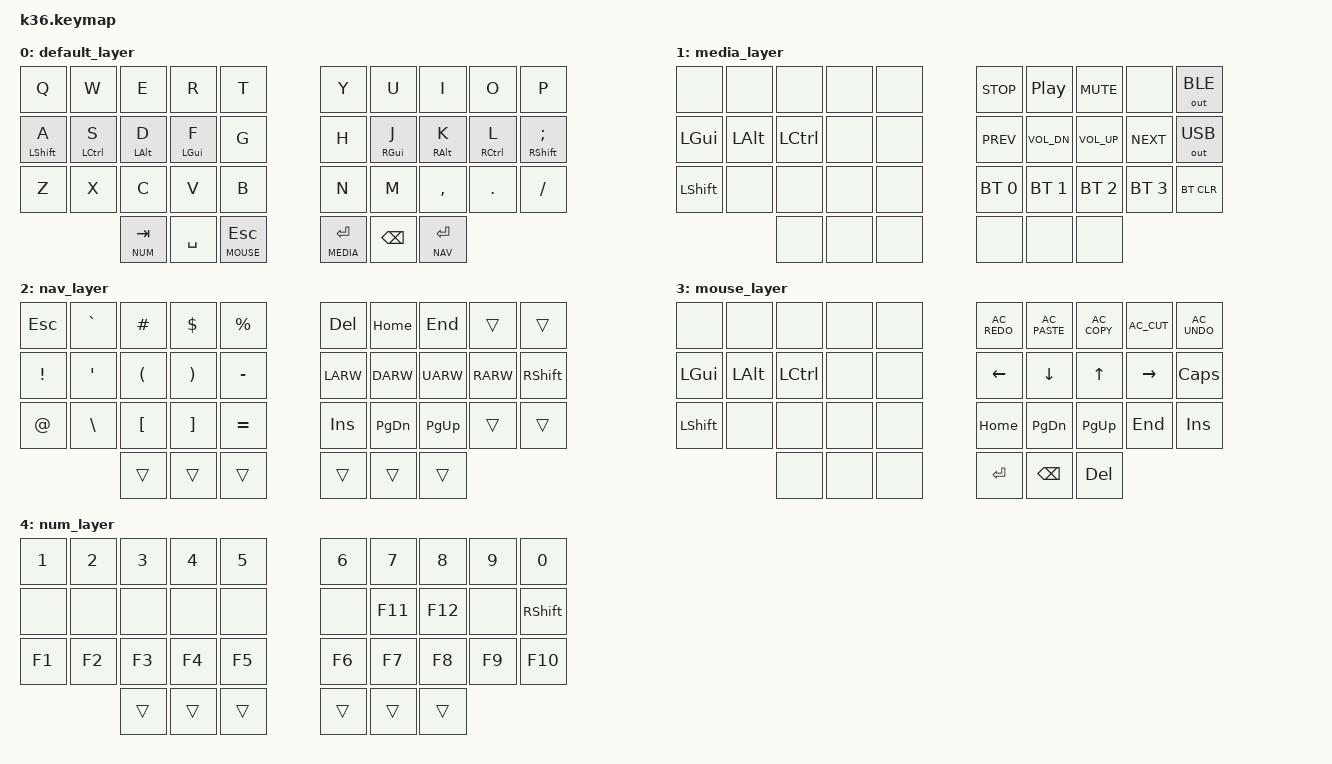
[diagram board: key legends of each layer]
#include <behaviors.dtsi>
#include <dt-bindings/zmk/keys.h>
#include <dt-bindings/zmk/bt.h>
#include <dt-bindings/zmk/ext_power.h>
#include <dt-bindings/zmk/outputs.h>

#define DEFAULT 0
#define MEDIA 1
#define NAV 2
#define MOUSE 3
#define NUM 4

/ {
	behaviors {
		hm: homerow_mods {
			compatible = "zmk,behavior-hold-tap";
			label = "HOMEROW_MODS";
			#binding-cells = <2>;
			tapping-term-ms = <200>;
			quick_tap_ms = <125>;
			global-quick-tap;
			flavor = "tap-preferred";
			bindings = <&kp>, <&kp>;
		};
		lm: layer_mods {
			compatible = "zmk,behavior-hold-tap";
			label = "LAYER_MODS";
			#binding-cells = <2>;
			tapping-term-ms = <200>;
			quick_tap_ms = <0>;
			flavor = "tap-preferred";
			bindings = <&mo>, <&kp>;
        };
  };

	keymap {
		compatible = "zmk,keymap";

		default_layer {
			bindings = <
// ╭───────────────┬───────────────┬───────────────┬───────────────┬───────────────╮   ╭───────────────┬───────────────┬───────────────┬───────────────┬───────────────╮
       &kp Q           &kp W           &kp E           &kp R           &kp T               &kp Y           &kp U           &kp I           &kp O           &kp P
// ├───────────────┼───────────────┼───────────────┼───────────────┼───────────────┤   ├───────────────┼───────────────┼───────────────┼───────────────┼───────────────┤
       &hm LSHFT A     &hm LCTRL S     &hm LALT D      &hm LGUI F      &kp G               &kp H           &hm RGUI J      &hm RALT K      &hm RCTRL L     &hm RSHFT SEMI
// ├───────────────┼───────────────┼───────────────┼───────────────┼───────────────┤   ├───────────────┼───────────────┼───────────────┼───────────────┼───────────────┤
       &kp Z           &kp X           &kp C           &kp V           &kp B               &kp N           &kp M           &kp COMMA       &kp DOT         &kp FSLH
// ╰───────────────┴───────────────┴───────────────┼───────────────┼───────────────┤   ├───────────────┼───────────────┼───────────────┴───────────────┴───────────────╯
	                                   &lt NUM TAB     &kp SPC         &lt MOUSE ESC       &lt MEDIA RET   &kp BSPC        &lt NAV RET
//                                 ╰───────────────┴───────────────┴───────────────╯   ╰───────────────┴───────────────┴───────────────╯
>;
		};

		media_layer {
			bindings = <
// ╭───────────────┬───────────────┬───────────────┬───────────────┬───────────────╮   ╭───────────────┬───────────────┬───────────────┬───────────────┬───────────────╮
       &none           &none           &none           &none           &none               &kp C_STOP      &kp C_PP        &kp C_MUTE      &none           &out OUT_BLE
// ├───────────────┼───────────────┼───────────────┼───────────────┼───────────────┤   ├───────────────┼───────────────┼───────────────┼───────────────┼───────────────┤
       &kp LGUI        &kp LALT        &kp LCTRL       &none           &none               &kp C_PREV      &kp C_VOL_DN    &kp C_VOL_UP    &kp C_NEXT      &out OUT_USB
// ├───────────────┼───────────────┼───────────────┼───────────────┼───────────────┤   ├───────────────┼───────────────┼───────────────┼───────────────┼───────────────┤
       &kp LSHIFT      &none           &none           &none           &none               &bt BT_SEL 0    &bt BT_SEL 1    &bt BT_SEL 2    &bt BT_SEL 3    &bt BT_CLR
// ╰───────────────┴───────────────┴───────────────┼───────────────┼───────────────┤   ├───────────────┼───────────────┼───────────────┴───────────────┴───────────────╯
				                       &none           &none           &none               &none           &none           &none
//                                 ╰───────────────┴───────────────┴───────────────╯   ╰───────────────┴───────────────┴───────────────╯
>;
		};

		nav_layer {
			bindings = <
// ╭───────────────┬───────────────┬───────────────┬───────────────┬───────────────╮   ╭───────────────┬───────────────┬───────────────┬───────────────┬───────────────╮
// │ ESC           │  ` ~          │  #            │  $            │ %             │   │ DELETE        │ HOME          │ END           │               │               │
       &kp ESC         &kp GRAVE       &kp HASH        &kp DOLLAR      &kp PRCNT           &kp DEL         &kp HOME        &kp END         &trans          &trans
// ├───────────────┼───────────────┼───────────────┼───────────────┼───────────────┤   ├───────────────┼───────────────┼───────────────┼───────────────┼───────────────┤
// │ !             │ ' "           │  (            │  )            │  - _          │   │ LEFT          │ DOWN          │ UP            │ RIGHT         │ RSHIFT        |
       &kp EXCL        &kp SQT         &kp LPAR        &kp RPAR        &kp MINUS           &kp LARW        &kp DARW        &kp UARW        &kp RARW        &kp RSHIFT
// ├───────────────┼───────────────┼───────────────┼───────────────┼───────────────┤   ├───────────────┼───────────────┼───────────────┼───────────────┼───────────────┤
// │ @             │  \ |          │  [ {          │  } ]          │  = +          │   │ INSERT        │  PAGE DN      │ PAGE UP       │               │               │
       &kp AT          &kp BSLH        &kp LBKT        &kp RBKT        &kp EQUAL           &kp INS         &kp PG_DN       &kp PG_UP       &trans          &trans
// ╰───────────────┴───────────────┴───────────────┼───────────────┼───────────────┤   ├───────────────┼───────────────┼───────────────┴───────────────┴───────────────╯
    	                               &trans           &trans           &trans            &trans          &trans          &trans
//                                 ╰───────────────┴───────────────┴───────────────╯   ╰───────────────┴───────────────┴───────────────╯
>;
		};

    /* This needs to be implemented when mouse keys hits ZMK's main branch */
		mouse_layer {
			bindings = <
// ╭───────────────┬───────────────┬───────────────┬───────────────┬───────────────╮   ╭───────────────┬───────────────┬───────────────┬───────────────┬───────────────╮
	&none           &none           &none           &none           &none		&kp C_AC_REDO   &kp C_AC_PASTE  &kp C_AC_COPY   &kp C_AC_CUT   &kp C_AC_UNDO
// ├───────────────┼───────────────┼───────────────┼───────────────┼───────────────┤   ├───────────────┼───────────────┼───────────────┼───────────────┼───────────────┤
	&kp LGUI        &kp LALT        &kp LCTRL       &none           &none		&kp LEFT        &kp DOWN        &kp UP          &kp RIGHT      &kp CAPSLOCK
// ├───────────────┼───────────────┼───────────────┼───────────────┼───────────────┤   ├───────────────┼───────────────┼───────────────┼───────────────┼───────────────┤
	&kp LSHIFT      &none           &none           &none           &none		&kp HOME        &kp PG_DN       &kp PG_UP       &kp END        &kp INSERT
// ╰───────────────┴───────────────┴───────────────┼───────────────┼───────────────┤   ├───────────────┼───────────────┼───────────────┴───────────────┴───────────────╯
					&none           &none           &none		&kp RET         &kp BSPC        &kp DEL
//                                 ╰───────────────┴───────────────┴───────────────╯   ╰───────────────┴───────────────┴───────────────╯
>;
		};

		num_layer {
			bindings = <
// ╭───────────────┬───────────────┬───────────────┬───────────────┬───────────────╮   ╭───────────────┬───────────────┬───────────────┬───────────────┬───────────────╮
       &kp N1         &kp N2          &kp N3          &kp N4          &kp N5              &kp N6          &kp N7          &kp N8          &kp N9          &kp N0
// ├───────────────┼───────────────┼───────────────┼───────────────┼───────────────┤   ├───────────────┼───────────────┼───────────────┼───────────────┼───────────────┤
	   &none          &none           &none           &none           &none               &none           &kp F11         &kp F12         &none           &kp RSHFT
// ├───────────────┼───────────────┼───────────────┼───────────────┼───────────────┤   ├───────────────┼───────────────┼───────────────┼───────────────┼───────────────┤
	   &kp F1         &kp F2          &kp F3          &kp F4          &kp F5              &kp F6          &kp F7          &kp F8          &kp F9          &kp F10
// ╰───────────────┴───────────────┴───────────────┼───────────────┼───────────────┤   ├───────────────┼───────────────┼───────────────┴───────────────┴───────────────╯
	                                  &trans          &trans          &trans              &trans          &trans          &trans
//                                 ╰───────────────┴───────────────┴───────────────╯   ╰───────────────┴───────────────┴───────────────╯
>;
		};
	};
};
